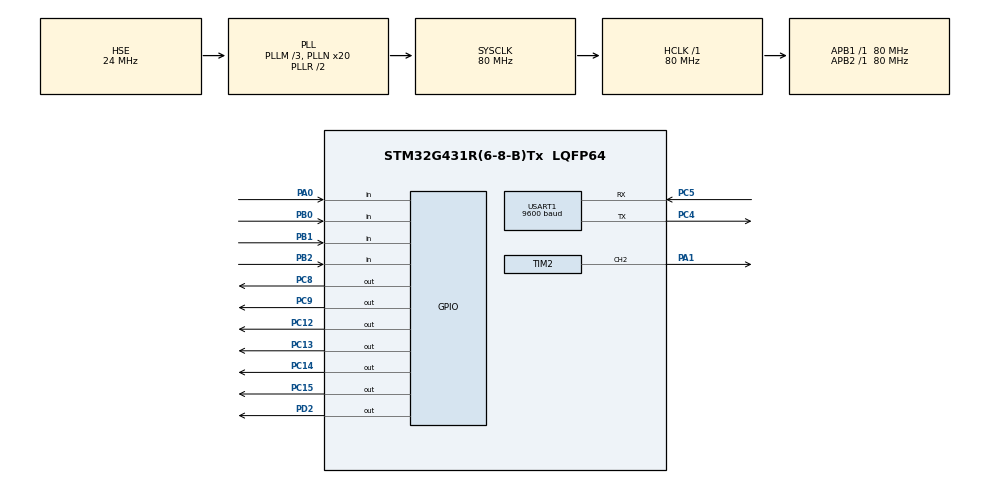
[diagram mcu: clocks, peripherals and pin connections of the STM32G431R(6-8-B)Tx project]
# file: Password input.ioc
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Mcu.Family=STM32G4
Mcu.Name=STM32G431R(6-8-B)Tx
Mcu.Package=LQFP64
NVIC.PriorityGroup=NVIC_PRIORITYGROUP_4
NVIC.USART1_IRQn=true\:0\:0\:false\:false\:true\:true\:true\:true
PA0.GPIO_Mode=GPIO_MODE_INPUT
PA0.GPIO_PuPd=GPIO_PULLUP
PA0.Signal=GPIO_Input
PA1.Signal=S_TIM2_CH2
PA13.Mode=Serial_Wire
PA13.Signal=SYS_JTMS-SWDIO
PA14.Mode=Serial_Wire
PA14.Signal=SYS_JTCK-SWCLK
PB0.GPIO_Mode=GPIO_MODE_INPUT
PB0.GPIO_PuPd=GPIO_PULLUP
PB0.Signal=GPIO_Input
PB1.GPIO_Mode=GPIO_MODE_INPUT
PB1.GPIO_PuPd=GPIO_PULLUP
PB1.Signal=GPIO_Input
PB2.GPIO_Mode=GPIO_MODE_INPUT
PB2.GPIO_PuPd=GPIO_PULLUP
PB2.Signal=GPIO_Input
PC12.PinState=GPIO_PIN_SET
PC12.Signal=GPIO_Output
PC13.PinState=GPIO_PIN_SET
PC13.Signal=GPIO_Output
PC14-OSC32_IN.PinState=GPIO_PIN_SET
PC14-OSC32_IN.Signal=GPIO_Output
PC15-OSC32_OUT.PinState=GPIO_PIN_SET
PC15-OSC32_OUT.Signal=GPIO_Output
PC4.Mode=Asynchronous
PC4.Signal=USART1_TX
PC5.Mode=Asynchronous
PC5.Signal=USART1_RX
PC8.PinState=GPIO_PIN_SET
PC8.Signal=GPIO_Output
PC9.PinState=GPIO_PIN_SET
PC9.Signal=GPIO_Output
PD2.PinState=GPIO_PIN_SET
PD2.Signal=GPIO_Output
PF0-OSC_IN.Mode=HSE-External-Oscillator
PF0-OSC_IN.Signal=RCC_OSC_IN
PF1-OSC_OUT.Mode=HSE-External-Oscillator
PF1-OSC_OUT.Signal=RCC_OSC_OUT
ProjectManager.HeapSize=0x200
ProjectManager.StackSize=0x400
ProjectManager.TargetToolchain=MDK-ARM V5.32
RCC.ADC12Freq_Value=80000000
RCC.AHBFreq_Value=80000000
RCC.APB1Freq_Value=80000000
RCC.APB1TimFreq_Value=80000000
RCC.APB2Freq_Value=80000000
RCC.APB2TimFreq_Value=80000000
RCC.CortexFreq_Value=80000000
RCC.EXTERNAL_CLOCK_VALUE=12288000
RCC.HCLKFreq_Value=80000000
RCC.HSE_VALUE=24000000
RCC.HSI48_VALUE=48000000
RCC.HSI_VALUE=16000000
RCC.LSE_VALUE=32768
RCC.PLLM=RCC_PLLM_DIV3
RCC.PLLN=20
RCC.PLLSourceVirtual=RCC_PLLSOURCE_HSE
RCC.SYSCLKFreq_VALUE=80000000
RCC.SYSCLKSource=RCC_SYSCLKSOURCE_PLLCLK
RCC.USBFreq_Value=80000000
RCC.VCOOutputFreq_Value=160000000
SH.S_TIM2_CH2.0=TIM2_CH2,PWM Generation2 CH2
TIM2.Channel-PWM\ Generation2\ CH2=TIM_CHANNEL_2
TIM2.Prescaler=79
USART1.BaudRate=9600
USART1.VirtualMode-Asynchronous=VM_ASYNC
VP_SYS_VS_DBSignals.Mode=DisableDeadBatterySignals
board=custom

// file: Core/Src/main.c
/* USER CODE BEGIN Header */
/**
  ******************************************************************************
  * @file           : main.c
  * @brief          : Main program body
  ******************************************************************************
  * @attention
  *
  * Copyright (c) 2026 STMicroelectronics.
  * All rights reserved.
  *
  * This software is licensed under terms that can be found in the LICENSE file
  * in the root directory of this software component.
  * If no LICENSE file comes with this software, it is provided AS-IS.
  *
  ******************************************************************************
  */
/* USER CODE END Header */
#include "main.h"
#include "tim.h"
#include "usart.h"
#include "gpio.h"

/* USER CODE BEGIN Includes */
#include "config.h"

#include "key.h"
#include "led.h"
#include "pwm.h"
#include "lcd.h"

/* USER CODE END Includes */

/* USER CODE BEGIN PV */
uint8_t system_state = 0;
char current_pwd[4] = "123";
char input_pwd[4] = "@@@";
uint32_t led1_on_time = 0;
uint32_t led2_alarm_time = 0;
uint32_t pwm_verify_time = 0;
uint8_t error_count = 0;

/* USER CODE END PV */

void SystemClock_Config(void);

int main(void)
{

  /* MCU Configuration--------------------------------------------------------*/

  /* Reset of all peripherals, Initializes the Flash interface and the Systick. */
  HAL_Init();

  /* Configure the system clock */
  SystemClock_Config();

  /* Initialize all configured peripherals */
  MX_GPIO_Init();
  MX_TIM2_Init();
  MX_USART1_UART_Init();
  /* USER CODE BEGIN 2 */
		LCD_Init();
		LCD_Clear(Black);        //
		LCD_SetBackColor(Black); //
		LCD_SetTextColor(White); //
    KEY_Init();
    LED_Init();
    UART_Init();           // ← 启用UART接收中断
    /* APP_Init removed */

    HAL_TIM_PWM_Start(&htim2, TIM_CHANNEL_2);
  /* USER CODE END 2 */

  /* Infinite loop */
  while (1)
  {
				/* 按键处理 */
        KEY_Process();

        /* 串口处理 */
        UART_Process();

        /* 应用处理（LED、PWM、LCD） */
        LED_Process();
        PWM_Process();
        LCD_Process();

  }
}

void SystemClock_Config(void)
{
  RCC_OscInitTypeDef RCC_OscInitStruct = {0};
  RCC_ClkInitTypeDef RCC_ClkInitStruct = {0};

  /** Configure the main internal regulator output voltage
  */
  HAL_PWREx_ControlVoltageScaling(PWR_REGULATOR_VOLTAGE_SCALE1);

  /** Initializes the RCC Oscillators according to the specified parameters
  * in the RCC_OscInitTypeDef structure.
  */
  RCC_OscInitStruct.OscillatorType = RCC_OSCILLATORTYPE_HSE;
  RCC_OscInitStruct.HSEState = RCC_HSE_ON;
  RCC_OscInitStruct.PLL.PLLState = RCC_PLL_ON;
  RCC_OscInitStruct.PLL.PLLSource = RCC_PLLSOURCE_HSE;
  RCC_OscInitStruct.PLL.PLLM = RCC_PLLM_DIV3;
  RCC_OscInitStruct.PLL.PLLN = 20;
  RCC_OscInitStruct.PLL.PLLP = RCC_PLLP_DIV2;
  RCC_OscInitStruct.PLL.PLLQ = RCC_PLLQ_DIV2;
  RCC_OscInitStruct.PLL.PLLR = RCC_PLLR_DIV2;
  if (HAL_RCC_OscConfig(&RCC_OscInitStruct) != HAL_OK)
  {
    Error_Handler();
  }

  /** Initializes the CPU, AHB and APB buses clocks
  */
  RCC_ClkInitStruct.ClockType = RCC_CLOCKTYPE_HCLK|RCC_CLOCKTYPE_SYSCLK
                              |RCC_CLOCKTYPE_PCLK1|RCC_CLOCKTYPE_PCLK2;
  RCC_ClkInitStruct.SYSCLKSource = RCC_SYSCLKSOURCE_PLLCLK;
  RCC_ClkInitStruct.AHBCLKDivider = RCC_SYSCLK_DIV1;
  RCC_ClkInitStruct.APB1CLKDivider = RCC_HCLK_DIV1;
  RCC_ClkInitStruct.APB2CLKDivider = RCC_HCLK_DIV1;

  if (HAL_RCC_ClockConfig(&RCC_ClkInitStruct, FLASH_LATENCY_2) != HAL_OK)
  {
    Error_Handler();
  }
}

void Error_Handler(void)
{
  __disable_irq();
  while (1)
  {
  }
}
